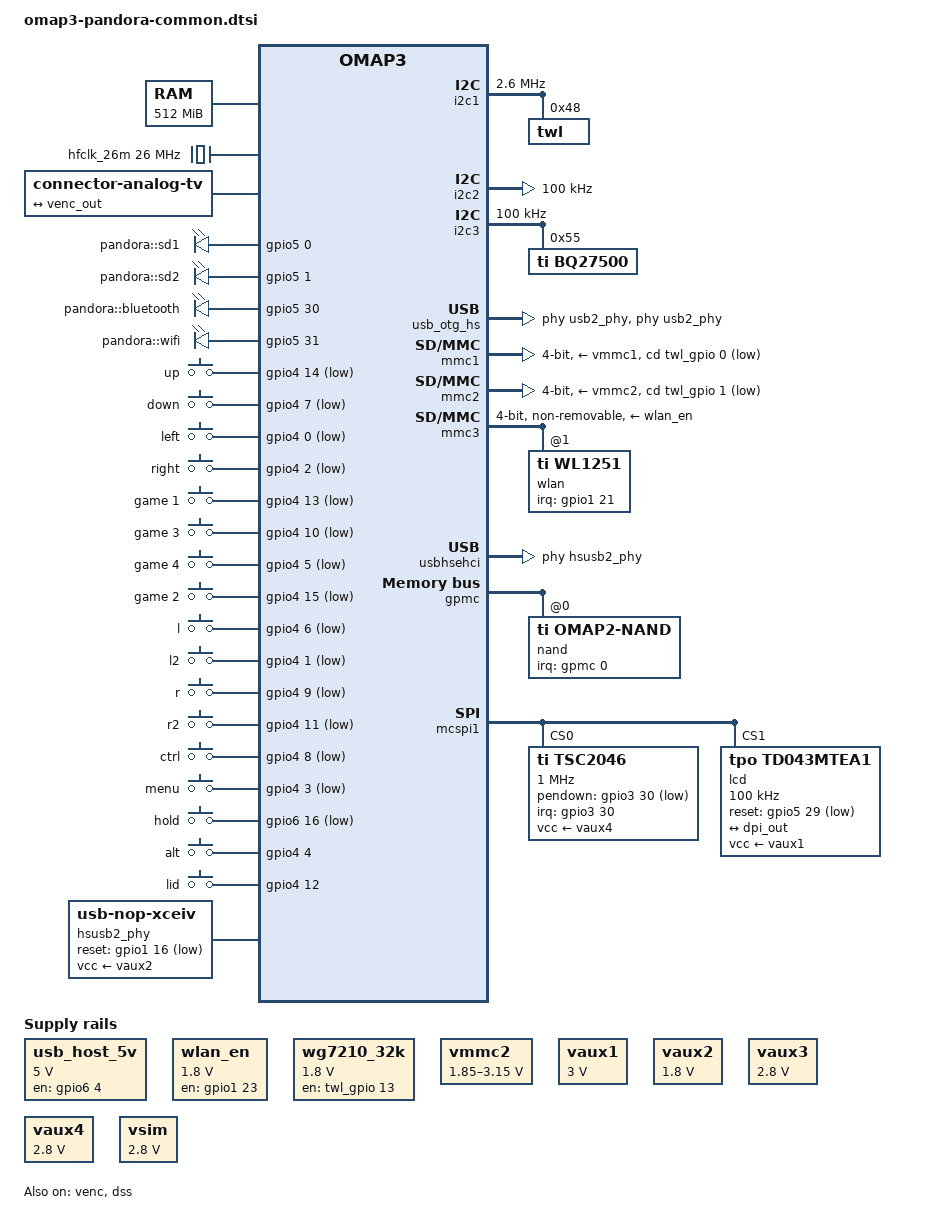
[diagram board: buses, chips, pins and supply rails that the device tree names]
// SPDX-License-Identifier: GPL-2.0-only
/*
 * Copyright (C) 2015
 *   Nikolaus Schaller <hns@goldelico.com>
 *
 * Common device tree include for OpenPandora devices.
 */

#include <dt-bindings/input/input.h>

/ {
	cpus {
		cpu@0 {
			cpu0-supply = <&vcc>;
		};
	};

	memory@80000000 {
		device_type = "memory";
		reg = <0x80000000 0x20000000>; /* 512 MB */
	};

	aliases {
		display0 = &lcd;
	};

	/* fixed 26MHz oscillator */
	hfclk_26m: oscillator {
		#clock-cells = <0>;
		compatible = "fixed-clock";
		clock-frequency = <26000000>;
	};

	tv: connector {
		compatible = "connector-analog-tv";
		label = "tv";

		port {
			tv_connector_in: endpoint {
				remote-endpoint = <&venc_out>;
			};
		};
	};

	gpio-leds {

		compatible = "gpio-leds";

		pinctrl-names = "default";
		pinctrl-0 = <&led_pins>;

		led1 {
			label = "pandora::sd1";
			gpios = <&gpio5 0 GPIO_ACTIVE_HIGH>;	/* GPIO_128 */
			linux,default-trigger = "mmc0";
			default-state = "off";
		};

		led2 {
			label = "pandora::sd2";
			gpios = <&gpio5 1 GPIO_ACTIVE_HIGH>;	/* GPIO_129 */
			linux,default-trigger = "mmc1";
			default-state = "off";
		};

		led3 {
			label = "pandora::bluetooth";
			gpios = <&gpio5 30 GPIO_ACTIVE_HIGH>;	/* GPIO_158 */
			linux,default-trigger = "heartbeat";
			default-state = "off";
		};

		led4 {
			label = "pandora::wifi";
			gpios = <&gpio5 31 GPIO_ACTIVE_HIGH>;	/* GPIO_159 */
			linux,default-trigger = "mmc2";
			default-state = "off";
		};
	};

	gpio-keys {
		compatible = "gpio-keys";

		pinctrl-names = "default";
		pinctrl-0 = <&button_pins>;

		up-button {
			label = "up";
			linux,code = <KEY_UP>;
			gpios = <&gpio4 14 GPIO_ACTIVE_LOW>;	/* GPIO_110 */
			wakeup-source;
		};

		down-button {
			label = "down";
			linux,code = <KEY_DOWN>;
			gpios = <&gpio4 7 GPIO_ACTIVE_LOW>;	/* GPIO_103 */
			wakeup-source;
		};

		left-button {
			label = "left";
			linux,code = <KEY_LEFT>;
			gpios = <&gpio4 0 GPIO_ACTIVE_LOW>;	/* GPIO_96 */
			wakeup-source;
		};

		right-button {
			label = "right";
			linux,code = <KEY_RIGHT>;
			gpios = <&gpio4 2 GPIO_ACTIVE_LOW>;	/* GPIO_98 */
			wakeup-source;
		};

		pageup-button {
			label = "game 1";
			linux,code = <KEY_PAGEUP>;
			gpios = <&gpio4 13 GPIO_ACTIVE_LOW>;	/* GPIO_109 */
			wakeup-source;
		};

		pagedown-button {
			label = "game 3";
			linux,code = <KEY_PAGEDOWN>;
			gpios = <&gpio4 10 GPIO_ACTIVE_LOW>;	/* GPIO_106 */
			wakeup-source;
		};

		home-button {
			label = "game 4";
			linux,code = <KEY_HOME>;
			gpios = <&gpio4 5 GPIO_ACTIVE_LOW>;	/* GPIO_101 */
			wakeup-source;
		};

		end-button {
			label = "game 2";
			linux,code = <KEY_END>;
			gpios = <&gpio4 15 GPIO_ACTIVE_LOW>;	/* GPIO_111 */
			wakeup-source;
		};

		right-shift {
			label = "l";
			linux,code = <KEY_RIGHTSHIFT>;
			gpios = <&gpio4 6 GPIO_ACTIVE_LOW>;	/* GPIO_102 */
			wakeup-source;
		};

		kp-plus {
			label = "l2";
			linux,code = <KEY_KPPLUS>;
			gpios = <&gpio4 1 GPIO_ACTIVE_LOW>;	/* GPIO_97 */
			wakeup-source;
		};

		right-ctrl {
			label = "r";
			linux,code = <KEY_RIGHTCTRL>;
			gpios = <&gpio4 9 GPIO_ACTIVE_LOW>;	/* GPIO_105 */
			wakeup-source;
		};

		kp-minus {
			label = "r2";
			linux,code = <KEY_KPMINUS>;
			gpios = <&gpio4 11 GPIO_ACTIVE_LOW>;	/* GPIO_107 */
			wakeup-source;
		};

		left-ctrl {
			label = "ctrl";
			linux,code = <KEY_LEFTCTRL>;
			gpios = <&gpio4 8 GPIO_ACTIVE_LOW>;	/* GPIO_104 */
			wakeup-source;
		};

		menu {
			label = "menu";
			linux,code = <KEY_MENU>;
			gpios = <&gpio4 3 GPIO_ACTIVE_LOW>;	/* GPIO_99 */
			wakeup-source;
		};

		hold {
			label = "hold";
			linux,code = <KEY_COFFEE>;
			gpios = <&gpio6 16 GPIO_ACTIVE_LOW>;	/* GPIO_176 */
			wakeup-source;
		};

		left-alt {
			label = "alt";
			linux,code = <KEY_LEFTALT>;
			gpios = <&gpio4 4 GPIO_ACTIVE_HIGH>;	/* GPIO_100 */
			wakeup-source;
		};

		lid {
			label = "lid";
			linux,code = <0x00>;    /* SW_LID lid shut */
			linux,input-type = <0x05>;    /* EV_SW */
			gpios = <&gpio4 12 GPIO_ACTIVE_HIGH>;   /* GPIO_108 */
		};
	};

	/* HS USB Host PHY on PORT 2 */
	hsusb2_phy: hsusb2_phy {
		compatible = "usb-nop-xceiv";
		reset-gpios = <&gpio1 16 GPIO_ACTIVE_LOW>; /* GPIO_16 */
		vcc-supply = <&vaux2>;
		#phy-cells = <0>;
	};

	/* HS USB Host VBUS supply
	 * disabling this regulator causes current leakage, and LCD flicker
	 * on earlier (CC) board revisions, so keep it always on */
	usb_host_5v: fixed-regulator-usb_host_5v {
		compatible = "regulator-fixed";
		regulator-name = "usb_host_5v";
		regulator-min-microvolt = <5000000>;
		regulator-max-microvolt = <5000000>;
		regulator-always-on;
		regulator-boot-on;
		enable-active-high;
		gpio = <&gpio6 4 GPIO_ACTIVE_HIGH>;	/* GPIO_164 */
	};

	/* wl1251 wifi+bt module */
	wlan_en: fixed-regulator-wg7210_en {
		compatible = "regulator-fixed";
		regulator-name = "vwlan";
		regulator-min-microvolt = <1800000>;
		regulator-max-microvolt = <1800000>;
		startup-delay-us = <50000>;
		enable-active-high;
		gpio = <&gpio1 23 GPIO_ACTIVE_HIGH>;
	};

	/* wg7210 (wifi+bt module) 32k clock buffer */
	wg7210_32k: fixed-regulator-wg7210_32k {
		compatible = "regulator-fixed";
		regulator-name = "wg7210_32k";
		regulator-min-microvolt = <1800000>;
		regulator-max-microvolt = <1800000>;
		regulator-always-on;
		enable-active-high;
		gpio = <&twl_gpio 13 GPIO_ACTIVE_HIGH>;
	};
};

&omap3_pmx_core {

	mmc1_pins: pinmux_mmc1_pins {
		pinctrl-single,pins = <
			OMAP3_CORE1_IOPAD(0x2144, PIN_INPUT_PULLUP | MUX_MODE0)		/* sdmmc1_clk.sdmmc1_clk */
			OMAP3_CORE1_IOPAD(0x2146, PIN_INPUT_PULLUP | MUX_MODE0)		/* sdmmc1_cmd.sdmmc1_cmd */
			OMAP3_CORE1_IOPAD(0x2148, PIN_INPUT_PULLUP | MUX_MODE0)		/* sdmmc1_dat0.sdmmc1_dat0 */
			OMAP3_CORE1_IOPAD(0x214a, PIN_INPUT_PULLUP | MUX_MODE0)		/* sdmmc1_dat1.sdmmc1_dat1 */
			OMAP3_CORE1_IOPAD(0x214c, PIN_INPUT_PULLUP | MUX_MODE0)		/* sdmmc1_dat2.sdmmc1_dat2 */
			OMAP3_CORE1_IOPAD(0x214e, PIN_INPUT_PULLUP | MUX_MODE0)		/* sdmmc1_dat3.sdmmc1_dat3 */
		>;
	};

	mmc2_pins: pinmux_mmc2_pins {
		pinctrl-single,pins = <
			OMAP3_CORE1_IOPAD(0x2158, PIN_INPUT_PULLUP | MUX_MODE0)		/* sdmmc2_clk.sdmmc2_clk */
			OMAP3_CORE1_IOPAD(0x215a, PIN_INPUT_PULLUP | MUX_MODE0)		/* sdmmc2_cmd.sdmmc2_cmd */
			OMAP3_CORE1_IOPAD(0x215c, PIN_INPUT_PULLUP | MUX_MODE0)		/* sdmmc2_dat0.sdmmc2_dat0 */
			OMAP3_CORE1_IOPAD(0x215e, PIN_INPUT_PULLUP | MUX_MODE0)		/* sdmmc2_dat1.sdmmc2_dat1 */
			OMAP3_CORE1_IOPAD(0x2160, PIN_INPUT_PULLUP | MUX_MODE0)		/* sdmmc2_dat2.sdmmc2_dat2 */
			OMAP3_CORE1_IOPAD(0x2162, PIN_INPUT_PULLUP | MUX_MODE0)		/* sdmmc2_dat3.sdmmc2_dat3 */
			OMAP3_CORE1_IOPAD(0x2164, PIN_OUTPUT_PULLUP | MUX_MODE1)	/* sdmmc2_dat4.sdmmc2_dirdat0 */
			OMAP3_CORE1_IOPAD(0x2166, PIN_OUTPUT_PULLUP | MUX_MODE1)	/* sdmmc2_dat5.sdmmc2_dirdat1 */
			OMAP3_CORE1_IOPAD(0x2168, PIN_OUTPUT_PULLUP | MUX_MODE1)	/* sdmmc2_dat6.sdmmc2_dircmd */
			OMAP3_CORE1_IOPAD(0x216a, PIN_INPUT_PULLUP | MUX_MODE1)		/* sdmmc2_dat7.sdmmc2_clkin */
		>;
	};

	dss_dpi_pins: pinmux_dss_dpi_pins {
		pinctrl-single,pins = <
			OMAP3_CORE1_IOPAD(0x20d4, PIN_OUTPUT | MUX_MODE0)	/* dss_pclk.dss_pclk */
			OMAP3_CORE1_IOPAD(0x20d6, PIN_OUTPUT | MUX_MODE0)	/* dss_hsync.dss_hsync */
			OMAP3_CORE1_IOPAD(0x20d8, PIN_OUTPUT | MUX_MODE0)	/* dss_vsync.dss_vsync */
			OMAP3_CORE1_IOPAD(0x20da, PIN_OUTPUT | MUX_MODE0)	/* dss_acbias.dss_acbias */
			OMAP3_CORE1_IOPAD(0x20dc, PIN_OUTPUT | MUX_MODE0)	/* dss_data0.dss_data0 */
			OMAP3_CORE1_IOPAD(0x20de, PIN_OUTPUT | MUX_MODE0)	/* dss_data1.dss_data1 */
			OMAP3_CORE1_IOPAD(0x20e0, PIN_OUTPUT | MUX_MODE0)	/* dss_data2.dss_data2 */
			OMAP3_CORE1_IOPAD(0x20e2, PIN_OUTPUT | MUX_MODE0)	/* dss_data3.dss_data3 */
			OMAP3_CORE1_IOPAD(0x20e4, PIN_OUTPUT | MUX_MODE0)	/* dss_data4.dss_data4 */
			OMAP3_CORE1_IOPAD(0x20e6, PIN_OUTPUT | MUX_MODE0)	/* dss_data5.dss_data5 */
			OMAP3_CORE1_IOPAD(0x20e8, PIN_OUTPUT | MUX_MODE0)	/* dss_data6.dss_data6 */
			OMAP3_CORE1_IOPAD(0x20ea, PIN_OUTPUT | MUX_MODE0)	/* dss_data7.dss_data7 */
			OMAP3_CORE1_IOPAD(0x20ec, PIN_OUTPUT | MUX_MODE0)	/* dss_data8.dss_data8 */
			OMAP3_CORE1_IOPAD(0x20ee, PIN_OUTPUT | MUX_MODE0)	/* dss_data9.dss_data9 */
			OMAP3_CORE1_IOPAD(0x20f0, PIN_OUTPUT | MUX_MODE0)	/* dss_data10.dss_data10 */
			OMAP3_CORE1_IOPAD(0x20f2, PIN_OUTPUT | MUX_MODE0)	/* dss_data11.dss_data11 */
			OMAP3_CORE1_IOPAD(0x20f4, PIN_OUTPUT | MUX_MODE0)	/* dss_data12.dss_data12 */
			OMAP3_CORE1_IOPAD(0x20f6, PIN_OUTPUT | MUX_MODE0)	/* dss_data13.dss_data13 */
			OMAP3_CORE1_IOPAD(0x20f8, PIN_OUTPUT | MUX_MODE0)	/* dss_data14.dss_data14 */
			OMAP3_CORE1_IOPAD(0x20fa, PIN_OUTPUT | MUX_MODE0)	/* dss_data15.dss_data15 */
			OMAP3_CORE1_IOPAD(0x20fc, PIN_OUTPUT | MUX_MODE0)	/* dss_data16.dss_data16 */
			OMAP3_CORE1_IOPAD(0x20fe, PIN_OUTPUT | MUX_MODE0)	/* dss_data17.dss_data17 */
			OMAP3_CORE1_IOPAD(0x2100, PIN_OUTPUT | MUX_MODE0)	/* dss_data18.dss_data18 */
			OMAP3_CORE1_IOPAD(0x2102, PIN_OUTPUT | MUX_MODE0)	/* dss_data19.dss_data19 */
			OMAP3_CORE1_IOPAD(0x2104, PIN_OUTPUT | MUX_MODE0)	/* dss_data20.dss_data20 */
			OMAP3_CORE1_IOPAD(0x2106, PIN_OUTPUT | MUX_MODE0)	/* dss_data21.dss_data21 */
			OMAP3_CORE1_IOPAD(0x2108, PIN_OUTPUT | MUX_MODE0)	/* dss_data22.dss_data22 */
			OMAP3_CORE1_IOPAD(0x210a, PIN_OUTPUT | MUX_MODE0)	/* dss_data23.dss_data23 */
			OMAP3_CORE1_IOPAD(0x218e, PIN_OUTPUT | MUX_MODE4)	/* GPIO_157 = lcd reset */
		>;
	};

	uart3_pins: pinmux_uart3_pins {
		pinctrl-single,pins = <
			OMAP3_CORE1_IOPAD(0x219e, PIN_INPUT | PIN_OFF_WAKEUPENABLE | MUX_MODE0)	/* uart3_rx_irrx.uart3_rx_irrx */
			OMAP3_CORE1_IOPAD(0x21a0, PIN_OUTPUT | MUX_MODE0) /* uart3_tx_irtx.uart3_tx_irtx */
		>;
	};

	led_pins: pinmux_leds_pins {
		pinctrl-single,pins = <
			OMAP3_CORE1_IOPAD(0x2154, PIN_OUTPUT | MUX_MODE4)	/* GPIO_128 */
			OMAP3_CORE1_IOPAD(0x2156, PIN_OUTPUT | MUX_MODE4)	/* GPIO_129 */
			OMAP3_CORE1_IOPAD(0x2190, PIN_OUTPUT | MUX_MODE4)	/* GPIO_158 */
			OMAP3_CORE1_IOPAD(0x2192, PIN_OUTPUT | MUX_MODE4)	/* GPIO_159 */
		>;
	};

	button_pins: pinmux_button_pins {
		pinctrl-single,pins = <
			OMAP3_CORE1_IOPAD(0x2110, PIN_INPUT | MUX_MODE4)	/* GPIO_96 */
			OMAP3_CORE1_IOPAD(0x2112, PIN_INPUT | MUX_MODE4)	/* GPIO_97 */
			OMAP3_CORE1_IOPAD(0x2114, PIN_INPUT | MUX_MODE4)	/* GPIO_98 */
			OMAP3_CORE1_IOPAD(0x2116, PIN_INPUT | MUX_MODE4)	/* GPIO_99 */
			OMAP3_CORE1_IOPAD(0x2118, PIN_INPUT | MUX_MODE4)	/* GPIO_100 */
			OMAP3_CORE1_IOPAD(0x211a, PIN_INPUT | MUX_MODE4)	/* GPIO_101 */
			OMAP3_CORE1_IOPAD(0x211c, PIN_INPUT | MUX_MODE4)	/* GPIO_102 */
			OMAP3_CORE1_IOPAD(0x211e, PIN_INPUT | MUX_MODE4)	/* GPIO_103 */
			OMAP3_CORE1_IOPAD(0x2120, PIN_INPUT | MUX_MODE4)	/* GPIO_104 */
			OMAP3_CORE1_IOPAD(0x2122, PIN_INPUT | MUX_MODE4)	/* GPIO_105 */
			OMAP3_CORE1_IOPAD(0x2124, PIN_INPUT | MUX_MODE4)	/* GPIO_106 */
			OMAP3_CORE1_IOPAD(0x2126, PIN_INPUT | MUX_MODE4)	/* GPIO_107 */
			OMAP3_CORE1_IOPAD(0x2128, PIN_INPUT | MUX_MODE4)	/* GPIO_108 */
			OMAP3_CORE1_IOPAD(0x212a, PIN_INPUT | MUX_MODE4)	/* GPIO_109 */
			OMAP3_CORE1_IOPAD(0x212c, PIN_INPUT | MUX_MODE4)	/* GPIO_110 */
			OMAP3_CORE1_IOPAD(0x212e, PIN_INPUT | MUX_MODE4)	/* GPIO_111 */
			OMAP3_CORE1_IOPAD(0x21d2, PIN_INPUT | MUX_MODE4)	/* GPIO_176 */
		>;
	};

	penirq_pins: pinmux_penirq_pins {
		pinctrl-single,pins = <
			/* here we could enable to wakeup the cpu from suspend by a pen touch */
			OMAP3_CORE1_IOPAD(0x210c, PIN_INPUT | MUX_MODE4)	/* GPIO_94 */
		>;
	};

};

&omap3_pmx_core2 {
	/* define in CPU specific file that includes this one
	 * use either OMAP3430_CORE2_IOPAD() or OMAP3630_CORE2_IOPAD()
	 */
};

&i2c1 {
	clock-frequency = <2600000>;

	twl: twl@48 {
		reg = <0x48>;
		interrupts = <7>; /* SYS_NIRQ cascaded to intc */
		interrupt-parent = <&intc>;

		clocks = <&hfclk_26m>;
		clock-names = "fck";

		twl_power: power {
			compatible = "ti,twl4030-power-reset";
			ti,use_poweroff;
		};

		twl_audio: audio {
			compatible = "ti,twl4030-audio";

			codec {
				ti,ramp_delay_value = <3>;
			};
		};
	};
};

#include "twl4030.dtsi"
#include "twl4030_omap3.dtsi"

&twl_keypad {
	keypad,num-rows = <8>;
	keypad,num-columns = <6>;
	linux,keymap = <
		MATRIX_KEY(0, 0, KEY_9)
		MATRIX_KEY(0, 1, KEY_8)
		MATRIX_KEY(0, 2, KEY_I)
		MATRIX_KEY(0, 3, KEY_J)
		MATRIX_KEY(0, 4, KEY_N)
		MATRIX_KEY(0, 5, KEY_M)
		MATRIX_KEY(1, 0, KEY_0)
		MATRIX_KEY(1, 1, KEY_7)
		MATRIX_KEY(1, 2, KEY_U)
		MATRIX_KEY(1, 3, KEY_H)
		MATRIX_KEY(1, 4, KEY_B)
		MATRIX_KEY(1, 5, KEY_SPACE)
		MATRIX_KEY(2, 0, KEY_BACKSPACE)
		MATRIX_KEY(2, 1, KEY_6)
		MATRIX_KEY(2, 2, KEY_Y)
		MATRIX_KEY(2, 3, KEY_G)
		MATRIX_KEY(2, 4, KEY_V)
		MATRIX_KEY(2, 5, KEY_FN)
		MATRIX_KEY(3, 0, KEY_O)
		MATRIX_KEY(3, 1, KEY_5)
		MATRIX_KEY(3, 2, KEY_T)
		MATRIX_KEY(3, 3, KEY_F)
		MATRIX_KEY(3, 4, KEY_C)
		MATRIX_KEY(4, 0, KEY_P)
		MATRIX_KEY(4, 1, KEY_4)
		MATRIX_KEY(4, 2, KEY_R)
		MATRIX_KEY(4, 3, KEY_D)
		MATRIX_KEY(4, 4, KEY_X)
		MATRIX_KEY(5, 0, KEY_K)
		MATRIX_KEY(5, 1, KEY_3)
		MATRIX_KEY(5, 2, KEY_E)
		MATRIX_KEY(5, 3, KEY_S)
		MATRIX_KEY(5, 4, KEY_Z)
		MATRIX_KEY(6, 0, KEY_L)
		MATRIX_KEY(6, 1, KEY_2)
		MATRIX_KEY(6, 2, KEY_W)
		MATRIX_KEY(6, 3, KEY_A)
		MATRIX_KEY(6, 4, KEY_RIGHTBRACE)
		MATRIX_KEY(7, 0, KEY_ENTER)
		MATRIX_KEY(7, 1, KEY_1)
		MATRIX_KEY(7, 2, KEY_Q)
		MATRIX_KEY(7, 3, KEY_LEFTSHIFT)
		MATRIX_KEY(7, 4, KEY_LEFTBRACE )
	 >;
};

/* backup battery charger */
&charger {
	ti,bb-uvolt = <3200000>;
	ti,bb-uamp = <150>;
};

/* MMC2 */
&vmmc2 {
	regulator-min-microvolt = <1850000>;
	regulator-max-microvolt = <3150000>;
};

/* LCD */
&vaux1 {
	regulator-min-microvolt = <3000000>;
	regulator-max-microvolt = <3000000>;
};

/* USB Host PHY */
&vaux2 {
	regulator-min-microvolt = <1800000>;
	regulator-max-microvolt = <1800000>;
};

/* available on expansion connector */
&vaux3 {
	regulator-min-microvolt = <2800000>;
	regulator-max-microvolt = <2800000>;
};

/* ADS7846 and nubs */
&vaux4 {
	regulator-min-microvolt = <2800000>;
	regulator-max-microvolt = <2800000>;
};

/* power audio DAC and LID sensor */
&vsim {
	regulator-min-microvolt = <2800000>;
	regulator-max-microvolt = <2800000>;
	regulator-always-on;
};

&i2c2 {
	clock-frequency = <100000>;
	/* no clients so we should disable clock */
};

&i2c3 {
	clock-frequency = <100000>;

	bq27500@55 {
		compatible = "ti,bq27500";
		reg = <0x55>;
	};

};

&usb_otg_hs {
	interface-type = <0>;
	usb-phy = <&usb2_phy>;
	phys = <&usb2_phy>;
	phy-names = "usb2-phy";
	mode = <3>;
	power = <50>;
};

/*
 * Many pandora boards have been produced with defective write-protect switches
 * on either slot, so it was decided not to use this feature. If you know
 * your board has good switches, feel free to uncomment wp-gpios below.
 */
&mmc1 {
	pinctrl-names = "default";
	pinctrl-0 = <&mmc1_pins>;
	vmmc-supply = <&vmmc1>;
	bus-width = <4>;
	cd-gpios = <&twl_gpio 0 GPIO_ACTIVE_LOW>;
	/*wp-gpios = <&gpio4 30 GPIO_ACTIVE_HIGH>;*/	/* GPIO_126 */
};

&mmc2 {
	pinctrl-names = "default";
	pinctrl-0 = <&mmc2_pins>;
	vmmc-supply = <&vmmc2>;
	bus-width = <4>;
	cd-gpios = <&twl_gpio 1 GPIO_ACTIVE_LOW>;
	/*wp-gpios = <&gpio4 31 GPIO_ACTIVE_HIGH>;*/	/* GPIO_127 */
};

&mmc3 {
	vmmc-supply = <&wlan_en>;

	bus-width = <4>;
	non-removable;
	ti,non-removable;
	cap-power-off-card;

	pinctrl-names = "default";
	pinctrl-0 = <&mmc3_pins>;

	#address-cells = <1>;
	#size-cells = <0>;

	wlan: wifi@1 {
		compatible = "ti,wl1251";

		reg = <1>;

		interrupt-parent = <&gpio1>;
		interrupts = <21 IRQ_TYPE_LEVEL_HIGH>;	/* GPIO_21 */

		ti,wl1251-has-eeprom;
	};
};

/* bluetooth*/
&uart1 {
};

/* spare (expansion connector) */
&uart2 {
};

/* console (expansion connector) */
&uart3 {
	pinctrl-names = "default";
	pinctrl-0 = <&uart3_pins>;
	interrupts-extended = <&intc 74 &omap3_pmx_core OMAP3_UART3_RX>;
};

&usbhshost {
	port2-mode = "ehci-phy";
};

&usbhsehci {
	phys = <0 &hsusb2_phy>;
};

&gpmc {
	ranges = <0 0 0x30000000 0x1000000>; /* CS0: 16MB for NAND */

	nand@0,0 {
		compatible = "ti,omap2-nand";
		reg = <0 0 4>; /* CS0, offset 0, IO size 4 */
		interrupt-parent = <&gpmc>;
		interrupts = <0 IRQ_TYPE_NONE>, /* fifoevent */
			     <1 IRQ_TYPE_NONE>;	/* termcount */
		nand-bus-width = <16>;
		ti,nand-ecc-opt = "sw";

		gpmc,sync-clk-ps = <0>;
		gpmc,cs-on-ns = <0>;
		gpmc,cs-rd-off-ns = <44>;
		gpmc,cs-wr-off-ns = <44>;
		gpmc,adv-on-ns = <6>;
		gpmc,adv-rd-off-ns = <34>;
		gpmc,adv-wr-off-ns = <44>;
		gpmc,we-off-ns = <40>;
		gpmc,oe-off-ns = <54>;
		gpmc,access-ns = <64>;
		gpmc,rd-cycle-ns = <82>;
		gpmc,wr-cycle-ns = <82>;
		gpmc,wr-access-ns = <40>;
		gpmc,wr-data-mux-bus-ns = <0>;
		gpmc,device-width = <2>;

		#address-cells = <1>;
		#size-cells = <1>;

		/* u-boot uses mtdparts=nand:512k(xloader),1920k(uboot),128k(uboot-env),10m(boot),-(rootfs) */

		x-loader@0 {
			label = "xloader";
			reg = <0 0x80000>;
		};

		bootloaders@80000 {
			label = "uboot";
			reg = <0x80000 0x1e0000>;
		};

		bootloaders_env@260000 {
			label = "uboot-env";
			reg = <0x260000 0x20000>;
		};

		kernel@280000 {
			label = "boot";
			reg = <0x280000 0xa00000>;
		};

		filesystem@c80000 {
			label = "rootfs";
			reg = <0xc80000 0>;	/* 0 = MTDPART_SIZ_FULL */
		};
	};
};

&mcspi1 {
	tsc2046@0 {
		reg = <0>;	/* CS0 */
		compatible = "ti,tsc2046";
		spi-max-frequency = <1000000>;
		pinctrl-names = "default";
		pinctrl-0 = <&penirq_pins>;
		interrupt-parent = <&gpio3>;
		interrupts = <30 IRQ_TYPE_NONE>;	/* GPIO_94 */
		pendown-gpio = <&gpio3 30 GPIO_ACTIVE_LOW>;
		vcc-supply = <&vaux4>;

		ti,x-min = /bits/ 16 <0>;
		ti,x-max = /bits/ 16 <8000>;
		ti,y-min = /bits/ 16 <0>;
		ti,y-max = /bits/ 16 <4800>;
		ti,x-plate-ohms = /bits/ 16 <40>;
		ti,pressure-max = /bits/ 16 <255>;

		wakeup-source;
	};

	lcd: lcd@1 {
		reg = <1>;	/* CS1 */
		compatible = "tpo,td043mtea1";
		spi-max-frequency = <100000>;
		spi-cpol;
		spi-cpha;

		label = "lcd";
		reset-gpios = <&gpio5 29 GPIO_ACTIVE_LOW>;	/* GPIO_157 */
		vcc-supply = <&vaux1>;

		port {
			lcd_in: endpoint {
				remote-endpoint = <&dpi_out>;
			};
		};
	};


};

/* n/a - used as GPIOs */
&mcbsp1 {
};

/* audio DAC */
&mcbsp2 {
};

/* bluetooth */
&mcbsp3 {
};

/* to twl4030*/
&mcbsp4 {
};

&venc {
	status = "okay";

	vdda-supply = <&vdac>;

	port {
		venc_out: endpoint {
			remote-endpoint = <&tv_connector_in>;
			ti,channels = <2>;
		};
	};
};

&dss {
	pinctrl-names = "default";
	pinctrl-0 = < &dss_dpi_pins >;

	status = "okay";
	vdds_dsi-supply = <&vpll2>;

	port {
		dpi_out: endpoint {
			remote-endpoint = <&lcd_in>;
			data-lines = <24>;
		};
	};
};
